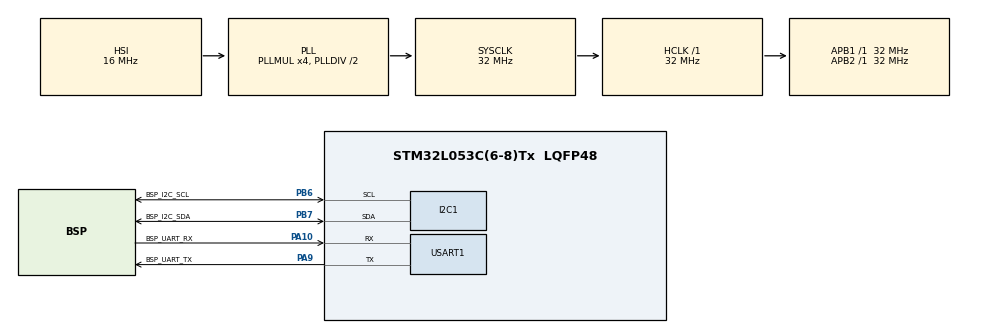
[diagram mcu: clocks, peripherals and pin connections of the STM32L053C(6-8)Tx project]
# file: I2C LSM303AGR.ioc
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I2C1.Timing=0x00707CBB
Mcu.Family=STM32L0
Mcu.Name=STM32L053C(6-8)Tx
Mcu.Package=LQFP48
PA10.GPIO_Label=BSP_UART_RX
PA10.Mode=Asynchronous
PA10.Signal=USART1_RX
PA13.Mode=Serial_Wire
PA13.Signal=SYS_SWDIO
PA14.Mode=Serial_Wire
PA14.Signal=SYS_SWCLK
PA9.GPIO_Label=BSP_UART_TX
PA9.Mode=Asynchronous
PA9.Signal=USART1_TX
PB6.GPIO_Label=BSP_I2C_SCL
PB6.Mode=I2C
PB6.Signal=I2C1_SCL
PB7.GPIO_Label=BSP_I2C_SDA
PB7.Mode=I2C
PB7.Signal=I2C1_SDA
PC14-OSC32_IN.Mode=LSE-External-Oscillator
PC14-OSC32_IN.Signal=RCC_OSC32_IN
PC15-OSC32_OUT.Mode=LSE-External-Oscillator
PC15-OSC32_OUT.Signal=RCC_OSC32_OUT
PH0-OSC_IN.Mode=HSE-External-Oscillator
PH0-OSC_IN.Signal=RCC_OSC_IN
PH1-OSC_OUT.Mode=HSE-External-Oscillator
PH1-OSC_OUT.Signal=RCC_OSC_OUT
ProjectManager.HeapSize=0x200
ProjectManager.StackSize=0x400
ProjectManager.TargetToolchain=STM32CubeIDE
RCC.AHBFreq_Value=32000000
RCC.APB1Freq_Value=32000000
RCC.APB1TimFreq_Value=32000000
RCC.APB2Freq_Value=32000000
RCC.APB2TimFreq_Value=32000000
RCC.HCLKFreq_Value=32000000
RCC.HSE_VALUE=8000000
RCC.HSI16_VALUE=16000000
RCC.HSI48MClockSelection=RCC_USBCLKSOURCE_HSI48
RCC.HSI48_VALUE=48000000
RCC.HSI_VALUE=16000000
RCC.MSI_VALUE=2097000
RCC.PLLMUL=RCC_PLLMUL_4
RCC.RTCClockSelectionVirtual=RCC_RTCCLKSOURCE_LSE
RCC.SYSCLKFreq_VALUE=32000000
RCC.SYSCLKSource=RCC_SYSCLKSOURCE_PLLCLK
RCC.VCOOutputFreq_Value=64000000
USART1.VirtualMode-Asynchronous=VM_ASYNC
board=STM32L0538-DISCO

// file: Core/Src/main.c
/* USER CODE BEGIN Header */
/**
  ******************************************************************************
  * @file           : main.c
  * @brief          : Main program body
  ******************************************************************************
  * @attention
  *
  * Copyright (c) 2023 STMicroelectronics.
  * All rights reserved.
  *
  * This software is licensed under terms that can be found in the LICENSE file
  * in the root directory of this software component.
  * If no LICENSE file comes with this software, it is provided AS-IS.
  *
  ******************************************************************************
  */
/* USER CODE END Header */
#include "main.h"

/* USER CODE BEGIN Includes */
#include <stdio.h>
#include "string.h"
#include "lsm303agr_reg.h"

/* NUCLEO_F411RE: Define communication interface */
#define SENSOR_BUS hi2c1

/* USER CODE END Includes */

/* USER CODE BEGIN PTD */

typedef struct {
	void *hbus;
	uint8_t i2c_address;
	GPIO_TypeDef *cs_port;
	uint16_t cs_pin;
} sensbus_t;
/* USER CODE END PTD */

/* USER CODE BEGIN PM */
#define BOOT_TIME              5 //ms
#define TX_BUF_DIM          1000
/* USER CODE END PM */

I2C_HandleTypeDef hi2c1;

UART_HandleTypeDef huart1;

/* USER CODE BEGIN PV */
uint8_t Buffer[25] = {0};
uint8_t Space[] = " - ";
uint8_t StartMSG[] = "Starting I2C Scanning: \r\n";
uint8_t EndMSG[] = "Done! \r\n\r\n";

//uint8_t TX_Buffer [] = "A" ; // DATA to send

static sensbus_t xl_bus = { &SENSOR_BUS, LSM303AGR_I2C_ADD_XL, 0, 0 };

static sensbus_t mag_bus = { &SENSOR_BUS, LSM303AGR_I2C_ADD_MG, 0, 0 };

static int16_t data_raw_acceleration[3];
static int16_t data_raw_magnetic[3];
static int16_t data_raw_temperature;
static float acceleration_mg[3];
static float magnetic_mG[3];
static float temperature_degC;
static uint8_t whoamI, rst;
static uint8_t tx_buffer[TX_BUF_DIM];

/* USER CODE END PV */

void SystemClock_Config(void);
static void MX_GPIO_Init(void);
static void MX_I2C1_Init(void);
static void MX_USART1_UART_Init(void);
/* USER CODE BEGIN PFP */
static int32_t platform_write(void *handle, uint8_t reg, const uint8_t *bufp,
		uint16_t len);
static int32_t platform_read(void *handle, uint8_t reg, uint8_t *bufp,
		uint16_t len);
static void tx_com(uint8_t *tx_buffer, uint16_t len);
static void platform_delay(uint32_t ms);
//static void platform_init(void);
void lsm303agr_read_data_polling(void);

/* USER CODE END PFP */

/* USER CODE BEGIN 0 */
/*-[ I2C Bus Scanning ]-*/

void i2c_scanner(I2C_HandleTypeDef *i2c) {

	printf("Scanning I2C bus:\r\n");
	HAL_StatusTypeDef ret;
	uint16_t i = 0;

	for (i = 1; i < 128; i++) {
		ret = HAL_I2C_IsDeviceReady(i2c, (uint16_t) (i << 1), 3, 10);
		if (ret != HAL_OK) /* No ACK Received At That Address */
		{
			printf("-");
		} else if (ret == HAL_OK) {
			printf("0x%X", i<<1);
		}
	}
	printf("\r\n");
}

/* USER CODE END 0 */

int main(void)
{

  /* MCU Configuration--------------------------------------------------------*/

  /* Reset of all peripherals, Initializes the Flash interface and the Systick. */
  HAL_Init();

  /* Configure the system clock */
  SystemClock_Config();

  /* Initialize all configured peripherals */
  MX_GPIO_Init();
  MX_I2C1_Init();
  MX_USART1_UART_Init();
  /* USER CODE BEGIN 2 */
  i2c_scanner(&hi2c1);
  lsm303agr_read_data_polling();
  /* USER CODE END 2 */

  /* Infinite loop */
  while (1)
  {

  }
}

void SystemClock_Config(void)
{
  RCC_OscInitTypeDef RCC_OscInitStruct = {0};
  RCC_ClkInitTypeDef RCC_ClkInitStruct = {0};
  RCC_PeriphCLKInitTypeDef PeriphClkInit = {0};

  /** Configure the main internal regulator output voltage
  */
  __HAL_PWR_VOLTAGESCALING_CONFIG(PWR_REGULATOR_VOLTAGE_SCALE1);

  /** Initializes the RCC Oscillators according to the specified parameters
  * in the RCC_OscInitTypeDef structure.
  */
  RCC_OscInitStruct.OscillatorType = RCC_OSCILLATORTYPE_HSI;
  RCC_OscInitStruct.HSIState = RCC_HSI_ON;
  RCC_OscInitStruct.HSICalibrationValue = RCC_HSICALIBRATION_DEFAULT;
  RCC_OscInitStruct.PLL.PLLState = RCC_PLL_ON;
  RCC_OscInitStruct.PLL.PLLSource = RCC_PLLSOURCE_HSI;
  RCC_OscInitStruct.PLL.PLLMUL = RCC_PLLMUL_4;
  RCC_OscInitStruct.PLL.PLLDIV = RCC_PLLDIV_2;
  if (HAL_RCC_OscConfig(&RCC_OscInitStruct) != HAL_OK)
  {
    Error_Handler();
  }

  /** Initializes the CPU, AHB and APB buses clocks
  */
  RCC_ClkInitStruct.ClockType = RCC_CLOCKTYPE_HCLK|RCC_CLOCKTYPE_SYSCLK
                              |RCC_CLOCKTYPE_PCLK1|RCC_CLOCKTYPE_PCLK2;
  RCC_ClkInitStruct.SYSCLKSource = RCC_SYSCLKSOURCE_PLLCLK;
  RCC_ClkInitStruct.AHBCLKDivider = RCC_SYSCLK_DIV1;
  RCC_ClkInitStruct.APB1CLKDivider = RCC_HCLK_DIV1;
  RCC_ClkInitStruct.APB2CLKDivider = RCC_HCLK_DIV1;

  if (HAL_RCC_ClockConfig(&RCC_ClkInitStruct, FLASH_LATENCY_1) != HAL_OK)
  {
    Error_Handler();
  }
  PeriphClkInit.PeriphClockSelection = RCC_PERIPHCLK_USART1|RCC_PERIPHCLK_I2C1;
  PeriphClkInit.Usart1ClockSelection = RCC_USART1CLKSOURCE_PCLK2;
  PeriphClkInit.I2c1ClockSelection = RCC_I2C1CLKSOURCE_PCLK1;
  if (HAL_RCCEx_PeriphCLKConfig(&PeriphClkInit) != HAL_OK)
  {
    Error_Handler();
  }
}

static void MX_I2C1_Init(void)
{

  hi2c1.Instance = I2C1;
  hi2c1.Init.Timing = 0x00707CBB;
  hi2c1.Init.OwnAddress1 = 0;
  hi2c1.Init.AddressingMode = I2C_ADDRESSINGMODE_7BIT;
  hi2c1.Init.DualAddressMode = I2C_DUALADDRESS_DISABLE;
  hi2c1.Init.OwnAddress2 = 0;
  hi2c1.Init.OwnAddress2Masks = I2C_OA2_NOMASK;
  hi2c1.Init.GeneralCallMode = I2C_GENERALCALL_DISABLE;
  hi2c1.Init.NoStretchMode = I2C_NOSTRETCH_DISABLE;
  if (HAL_I2C_Init(&hi2c1) != HAL_OK)
  {
    Error_Handler();
  }

  /** Configure Analogue filter
  */
  if (HAL_I2CEx_ConfigAnalogFilter(&hi2c1, I2C_ANALOGFILTER_ENABLE) != HAL_OK)
  {
    Error_Handler();
  }

  /** Configure Digital filter
  */
  if (HAL_I2CEx_ConfigDigitalFilter(&hi2c1, 0) != HAL_OK)
  {
    Error_Handler();
  }

}

static void MX_USART1_UART_Init(void)
{

  huart1.Instance = USART1;
  huart1.Init.BaudRate = 115200;
  huart1.Init.WordLength = UART_WORDLENGTH_8B;
  huart1.Init.StopBits = UART_STOPBITS_1;
  huart1.Init.Parity = UART_PARITY_NONE;
  huart1.Init.Mode = UART_MODE_TX_RX;
  huart1.Init.HwFlowCtl = UART_HWCONTROL_NONE;
  huart1.Init.OverSampling = UART_OVERSAMPLING_16;
  huart1.Init.OneBitSampling = UART_ONE_BIT_SAMPLE_DISABLE;
  huart1.AdvancedInit.AdvFeatureInit = UART_ADVFEATURE_NO_INIT;
  if (HAL_UART_Init(&huart1) != HAL_OK)
  {
    Error_Handler();
  }

}

static void MX_GPIO_Init(void)
{

  /* GPIO Ports Clock Enable */
  __HAL_RCC_GPIOC_CLK_ENABLE();
  __HAL_RCC_GPIOH_CLK_ENABLE();
  __HAL_RCC_GPIOA_CLK_ENABLE();
  __HAL_RCC_GPIOB_CLK_ENABLE();

}

/* USER CODE BEGIN 4 */
void lsm303agr_read_data_polling(void) {
	/* Initialize mems driver interface */
	stmdev_ctx_t dev_ctx_xl;
	dev_ctx_xl.write_reg = platform_write;
	dev_ctx_xl.read_reg = platform_read;
	dev_ctx_xl.handle = (void*) &xl_bus;
	stmdev_ctx_t dev_ctx_mg;
	dev_ctx_mg.write_reg = platform_write;
	dev_ctx_mg.read_reg = platform_read;
	dev_ctx_mg.handle = (void*) &mag_bus;
	/* Wait boot time and initialize platform specific hardware */
	/* Wait sensor boot time */
	platform_delay(BOOT_TIME);
	/* Check device ID */
	whoamI = 0;
	lsm303agr_xl_device_id_get(&dev_ctx_xl, &whoamI);  // who_iamid store 51 so check device id 3 means 51

	if (whoamI != LSM303AGR_ID_XL)
		while (1)
			; /*manage here device not found */

	whoamI = 0;
	lsm303agr_mag_device_id_get(&dev_ctx_mg, &whoamI);

	if (whoamI != LSM303AGR_ID_MG)
		while (1)
			; /*manage here device not found */

	/* Restore default configuration for magnetometer */
	lsm303agr_mag_reset_set(&dev_ctx_mg, PROPERTY_ENABLE);

	do {
		lsm303agr_mag_reset_get(&dev_ctx_mg, &rst);
	} while (rst);

	/* Enable Block Data Update */
	lsm303agr_xl_block_data_update_set(&dev_ctx_xl, PROPERTY_ENABLE);
	lsm303agr_mag_block_data_update_set(&dev_ctx_mg, PROPERTY_ENABLE);
	/* Set Output Data Rate */
	lsm303agr_xl_data_rate_set(&dev_ctx_xl, LSM303AGR_XL_ODR_1Hz);
	lsm303agr_mag_data_rate_set(&dev_ctx_mg, LSM303AGR_MG_ODR_10Hz);
	/* Set accelerometer full scale */
	lsm303agr_xl_full_scale_set(&dev_ctx_xl, LSM303AGR_2g);
	/* Set / Reset magnetic sensor mode */
	lsm303agr_mag_set_rst_mode_set(&dev_ctx_mg,
			LSM303AGR_SENS_OFF_CANC_EVERY_ODR);
	/* Enable temperature compensation on mag sensor */
	lsm303agr_mag_offset_temp_comp_set(&dev_ctx_mg, PROPERTY_ENABLE);
	/* Enable temperature sensor */
	lsm303agr_temperature_meas_set(&dev_ctx_xl, LSM303AGR_TEMP_ENABLE);
	/* Set device in continuous mode */
	lsm303agr_xl_operating_mode_set(&dev_ctx_xl, LSM303AGR_HR_12bit);
	/* Set magnetometer in continuous mode */
	lsm303agr_mag_operating_mode_set(&dev_ctx_mg, LSM303AGR_CONTINUOUS_MODE);

	/* Read samples in polling mode (no int) */
	while (1) {
		/* Read output only if new value is available */
		lsm303agr_reg_t reg;
		lsm303agr_xl_status_get(&dev_ctx_xl, &reg.status_reg_a);

		if (reg.status_reg_a.zyxda) {
			/* Read accelerometer data */
			memset(data_raw_acceleration, 0x00, 3 * sizeof(int16_t));
			lsm303agr_acceleration_raw_get(&dev_ctx_xl, data_raw_acceleration);
			acceleration_mg[0] = lsm303agr_from_fs_2g_hr_to_mg(
					data_raw_acceleration[0]);
			acceleration_mg[1] = lsm303agr_from_fs_2g_hr_to_mg(
					data_raw_acceleration[1]);
			acceleration_mg[2] = lsm303agr_from_fs_2g_hr_to_mg(
					data_raw_acceleration[2]);
			sprintf((char*) tx_buffer,
					"Acceleration [mg]:%4.2f\t%4.2f\t%4.2f\r\n",
					acceleration_mg[0], acceleration_mg[1], acceleration_mg[2]);
//			printf(tx_buffer, strlen((char const*) tx_buffer));
			printf("%s\r\n",tx_buffer);
		}

		lsm303agr_mag_status_get(&dev_ctx_mg, &reg.status_reg_m);

		if (reg.status_reg_m.zyxda) {
			/* Read magnetic field data */
			memset(data_raw_magnetic, 0x00, 3 * sizeof(int16_t));
			lsm303agr_magnetic_raw_get(&dev_ctx_mg, data_raw_magnetic);
			magnetic_mG[0] = lsm303agr_from_lsb_to_mgauss(data_raw_magnetic[0]);
			magnetic_mG[1] = lsm303agr_from_lsb_to_mgauss(data_raw_magnetic[1]);
			magnetic_mG[2] = lsm303agr_from_lsb_to_mgauss(data_raw_magnetic[2]);
			sprintf((char*) tx_buffer,
					"Magnetic field [mG]:%4.2f\t%4.2f\t%4.2f\r\n",
					magnetic_mG[0], magnetic_mG[1], magnetic_mG[2]);
			//printf(tx_buffer, strlen((char const*) tx_buffer));
		}

		lsm303agr_temp_data_ready_get(&dev_ctx_xl, &reg.byte);

		if (reg.byte) {
			/* Read temperature data */
			memset(&data_raw_temperature, 0x00, sizeof(int16_t));
			lsm303agr_temperature_raw_get(&dev_ctx_xl, &data_raw_temperature);
			temperature_degC = lsm303agr_from_lsb_hr_to_celsius(
					data_raw_temperature);
			sprintf((char*) tx_buffer, "Temperature [degC]:%6.2f\r\n",
					temperature_degC);
			tx_com(tx_buffer, strlen((char const*) tx_buffer));
		}
	}
}

static int32_t platform_write(void *handle, uint8_t reg, const uint8_t *bufp,
		uint16_t len) {
	sensbus_t *sensbus = (sensbus_t*) handle;

	if (sensbus->i2c_address == LSM303AGR_I2C_ADD_XL) {
		/* enable auto incremented in multiple read/write commands */
		reg |= 0x80;
	}

	HAL_I2C_Mem_Write(sensbus->hbus, sensbus->i2c_address, reg,
	I2C_MEMADD_SIZE_8BIT, (uint8_t*) bufp, len, 1000);

//	HAL_I2C_Mem_Write_IT(sensbus->hbus, sensbus->i2c_address, reg,
//			I2C_MEMADD_SIZE_8BIT, (uint8_t*) bufp, len);

	return 0;
}

/*
 * @brief  Read generic device register (platform dependent)
 *
 * @param  handle    customizable argument. In this examples is used in
 *                   order to select the correct sensor bus handler.
 * @param  reg       register to read
 * @param  bufp      pointer to buffer that store the data read
 * @param  len       number of consecutive register to read
 *
 */
static int32_t platform_read(void *handle, uint8_t reg, uint8_t *bufp,
		uint16_t len) {
	sensbus_t *sensbus = (sensbus_t*) handle;

	if (sensbus->i2c_address == LSM303AGR_I2C_ADD_XL) {
		/* enable auto incremented in multiple read/write commands */
		reg |= 0x80;
	}

	HAL_I2C_Mem_Read(sensbus->hbus, sensbus->i2c_address, reg,
	I2C_MEMADD_SIZE_8BIT, bufp, len, 1000);

//	HAL_I2C_Mem_Read_IT(sensbus->hbus, sensbus->i2c_address, reg,
//			I2C_MEMADD_SIZE_8BIT, bufp, len);

//	HAL_I2C_Master_Receive_IT(sensbus->hbus, sensbus->i2c_address, bufp, len);

	return 0;
}

/*
 * @brief  Write generic device register (platform dependent)
 *
 * @param  tx_buffer     buffer to transmit
 * @param  len           number of byte to send
 *
 */
static void tx_com(uint8_t *tx_buffer, uint16_t len) {
//#if defined(NUCLEO_F411RE)
 // HAL_UART_Transmit(&huart2, tx_buffer, len, 1000);
//#elif defined(STEVAL_MKI109V3)
//  CDC_Transmit_FS(tx_buffer, len);
//#elif defined(SPC584B_DIS)
//  sd_lld_write(&SD2, tx_buffer, len);
//#endif
}

/*
 * @brief  platform specific delay (platform dependent)
 *
 * @param  ms        delay in ms
 *
 */
static void platform_delay(uint32_t ms) {
  HAL_Delay(ms);
}

/*
 * @brief  platform specific initialization (platform dependent)
 */

/* USER CODE END 4 */

void Error_Handler(void)
{
  __disable_irq();
  while (1)
  {
  }
}
